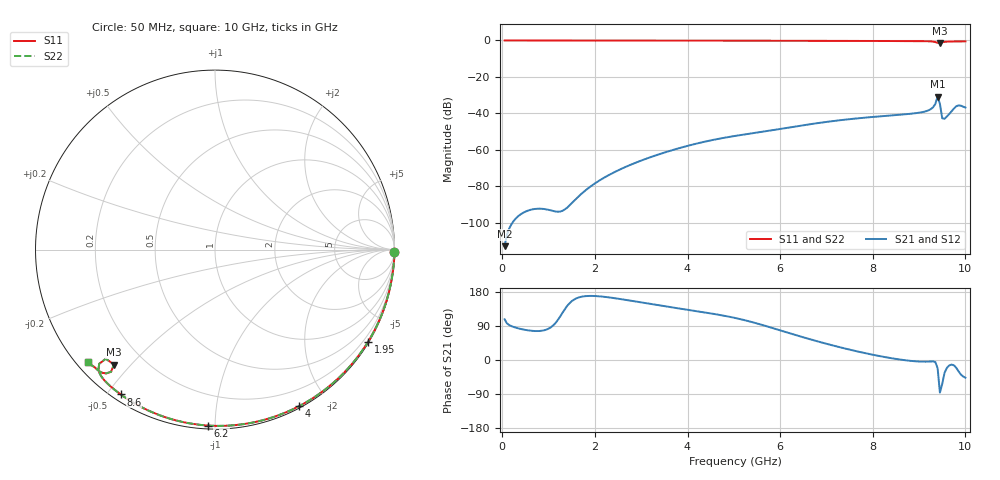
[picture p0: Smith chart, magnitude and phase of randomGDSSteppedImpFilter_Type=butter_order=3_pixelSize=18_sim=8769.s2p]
! freq	dB(S11)	phase(S11)	dB(S12)	phase(S12)
!  dB(S21)	phase(S21)	dB(S22)	phase(S22)
!S-par simulation data
#  GHz  S  DB  R 50
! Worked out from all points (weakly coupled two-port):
!   200 points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, 50 MHz to 10 GHz, reference 50 ohm
!   highest |S21| = -30.84 dB at 9.4 GHz (marker M1); lowest = -112.8 dB at 50 MHz (marker M2)
!   lowest |S11| = -1.4 dB at 9.45 GHz (marker M3), VSWR 12.61, Z = 4.77 - j22.4 ohm
!   |S11| at or under -10 dB: nowhere
!   |S22| runs from -1.4 to 0.0 dB; largest |S21 - S12| = 0
!   S11 on the Smith chart (normalised r, x): 50 MHz: open; 1.95 GHz: 0.03, -3.60; 4 GHz: 0.02, -1.67; 6.2 GHz: 0.02, -0.96; 8.6 GHz: 0.02, -0.54; 10 GHz: 0.03, -0.38
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0.05  -0.00 -0.8  -112.83 107.4  -112.83 107.4  -0.00 -0.8
1.75  -0.04 -27.9  -83.22 167.9  -83.22 167.9  -0.04 -27.9
1.9  -0.04 -30.3  -80.20 169.2  -80.20 169.2  -0.04 -30.3
1.95  -0.04 -31.0  -79.28 169.1  -79.28 169.1  -0.04 -31.1
2.55  -0.05 -40.3  -70.65 160.9  -70.65 160.9  -0.05 -40.3
3.4  -0.07 -53.1  -62.30 144.0  -62.30 144.0  -0.07 -53.1
4  -0.09 -61.9  -57.82 132.5  -57.82 132.5  -0.09 -61.9
5.05  -0.12 -76.7  -52.27 110.3  -52.27 110.3  -0.12 -76.7
6.2  -0.17 -92.2  -47.71 70.8  -47.71 70.8  -0.17 -92.2
6.7  -0.19 -98.8  -45.74 52.9  -45.74 52.9  -0.19 -98.8
8.35  -0.31 -119.8  -41.23 5.8  -41.23 5.8  -0.31 -119.8
8.6  -0.33 -123.0  -40.71 1.0  -40.71 1.0  -0.33 -123.1
9.2  -0.46 -131.9  -38.37 -4.2  -38.37 -4.2  -0.46 -131.9
9.3  -0.62 -134.2  -36.71 -3.7  -36.71 -3.7  -0.61 -134.2
9.35  -0.86 -135.4  -34.85 -5.2  -34.85 -5.2  -0.85 -135.4
9.4  -1.31 -135.0  -30.84 -21.5  -30.84 -21.5  -1.30 -135.0
9.45  -1.38 -131.3  -34.78 -86.1  -34.78 -86.1  -1.39 -131.4
9.5  -0.98 -130.4  -42.69 -63.0  -42.69 -63.0  -0.98 -130.4
9.55  -0.74 -131.3  -42.94 -33.8  -42.94 -33.8  -0.74 -131.3
9.8  -0.56 -135.7  -36.16 -20.2  -36.16 -20.2  -0.56 -135.7
9.85  -0.54 -136.3  -35.60 -29.5  -35.60 -29.5  -0.54 -136.3
10  -0.50 -138.5  -36.81 -46.6  -36.81 -46.6  -0.50 -138.5
